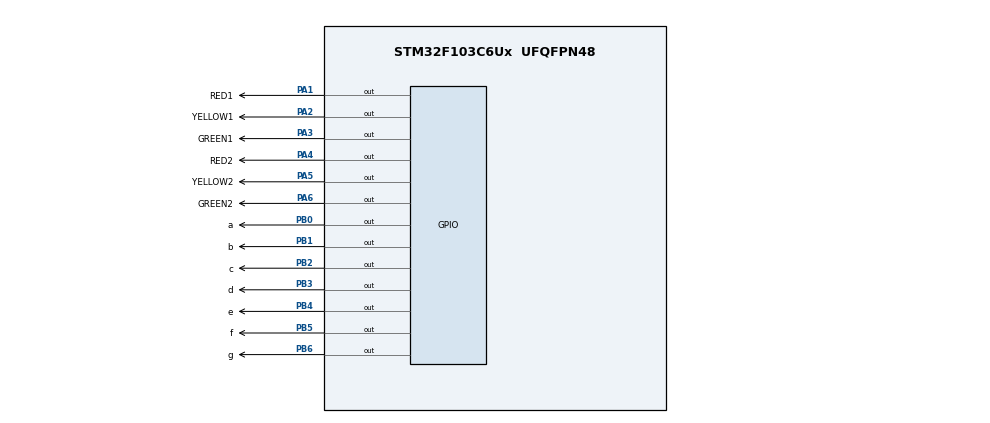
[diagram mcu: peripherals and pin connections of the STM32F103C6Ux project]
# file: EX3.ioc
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Mcu.Family=STM32F1
Mcu.Name=STM32F103C6Ux
Mcu.Package=UFQFPN48
NVIC.PriorityGroup=NVIC_PRIORITYGROUP_4
PA1.GPIO_Label=RED1
PA1.Signal=GPIO_Output
PA2.GPIO_Label=YELLOW1
PA2.Signal=GPIO_Output
PA3.GPIO_Label=GREEN1
PA3.Signal=GPIO_Output
PA4.GPIO_Label=RED2
PA4.Signal=GPIO_Output
PA5.GPIO_Label=YELLOW2
PA5.Signal=GPIO_Output
PA6.GPIO_Label=GREEN2
PA6.Signal=GPIO_Output
PB0.GPIO_Label=a
PB0.Signal=GPIO_Output
PB1.GPIO_Label=b
PB1.Signal=GPIO_Output
PB2.GPIO_Label=c
PB2.Signal=GPIO_Output
PB3.GPIO_Label=d
PB3.Signal=GPIO_Output
PB4.GPIO_Label=e
PB4.Signal=GPIO_Output
PB5.GPIO_Label=f
PB5.Signal=GPIO_Output
PB6.GPIO_Label=g
PB6.Signal=GPIO_Output
ProjectManager.HeapSize=0x200
ProjectManager.StackSize=0x400
ProjectManager.TargetToolchain=STM32CubeIDE
RCC.APB1Freq_Value=8000000
RCC.APB2Freq_Value=8000000
VP_SYS_VS_ND.Mode=No_Debug
board=custom

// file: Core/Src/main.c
/* USER CODE BEGIN Header */
/**
  ******************************************************************************
  * @file           : main.c
  * @brief          : Main program body
  ******************************************************************************
  * @attention
  *
  * <h2><center>&copy; Copyright (c) 2022 STMicroelectronics.
  * All rights reserved.</center></h2>
  *
  * This software component is licensed by ST under BSD 3-Clause license,
  * the "License"; You may not use this file except in compliance with the
  * License. You may obtain a copy of the License at:
  *                        opensource.org/licenses/BSD-3-Clause
  *
  ******************************************************************************
  */
/* USER CODE END Header */
#include "main.h"

void SystemClock_Config(void);
static void MX_GPIO_Init(void);

void display7SEG(int num) {
	if (num==0) {
		HAL_GPIO_WritePin(a_GPIO_Port, a_Pin, RESET);
		HAL_GPIO_WritePin(b_GPIO_Port, b_Pin, RESET);
		HAL_GPIO_WritePin(c_GPIO_Port, c_Pin, RESET);
		HAL_GPIO_WritePin(d_GPIO_Port, d_Pin, RESET);
		HAL_GPIO_WritePin(e_GPIO_Port, e_Pin, RESET);
		HAL_GPIO_WritePin(f_GPIO_Port, f_Pin, RESET);
		HAL_GPIO_WritePin(g_GPIO_Port, g_Pin, SET);
	}
	if (num==1) {
		HAL_GPIO_WritePin(a_GPIO_Port, a_Pin, SET);
		HAL_GPIO_WritePin(b_GPIO_Port, b_Pin, RESET);
		HAL_GPIO_WritePin(c_GPIO_Port, c_Pin, RESET);
		HAL_GPIO_WritePin(d_GPIO_Port, d_Pin, SET);
		HAL_GPIO_WritePin(e_GPIO_Port, e_Pin, SET);
		HAL_GPIO_WritePin(f_GPIO_Port, f_Pin, SET);
		HAL_GPIO_WritePin(g_GPIO_Port, g_Pin, SET);
	}
	if (num==2) {
		HAL_GPIO_WritePin(a_GPIO_Port, a_Pin, RESET);
		HAL_GPIO_WritePin(b_GPIO_Port, b_Pin, RESET);
		HAL_GPIO_WritePin(c_GPIO_Port, c_Pin, SET);
		HAL_GPIO_WritePin(d_GPIO_Port, d_Pin, RESET);
		HAL_GPIO_WritePin(e_GPIO_Port, e_Pin, RESET);
		HAL_GPIO_WritePin(f_GPIO_Port, f_Pin, SET);
		HAL_GPIO_WritePin(g_GPIO_Port, g_Pin, RESET);
	}
	if (num==3) {
		HAL_GPIO_WritePin(a_GPIO_Port, a_Pin, RESET);
		HAL_GPIO_WritePin(b_GPIO_Port, b_Pin, RESET);
		HAL_GPIO_WritePin(c_GPIO_Port, c_Pin, RESET);
		HAL_GPIO_WritePin(d_GPIO_Port, d_Pin, RESET);
		HAL_GPIO_WritePin(e_GPIO_Port, e_Pin, SET);
		HAL_GPIO_WritePin(f_GPIO_Port, f_Pin, SET);
		HAL_GPIO_WritePin(g_GPIO_Port, g_Pin, RESET);
	}
	if (num==4) {
		HAL_GPIO_WritePin(a_GPIO_Port, a_Pin, SET);
		HAL_GPIO_WritePin(b_GPIO_Port, b_Pin, RESET);
		HAL_GPIO_WritePin(c_GPIO_Port, c_Pin, RESET);
		HAL_GPIO_WritePin(d_GPIO_Port, d_Pin, SET);
		HAL_GPIO_WritePin(e_GPIO_Port, e_Pin, SET);
		HAL_GPIO_WritePin(f_GPIO_Port, f_Pin, RESET);
		HAL_GPIO_WritePin(g_GPIO_Port, g_Pin, RESET);
	}
	if (num==5) {
		HAL_GPIO_WritePin(a_GPIO_Port, a_Pin, RESET);
		HAL_GPIO_WritePin(b_GPIO_Port, b_Pin, SET);
		HAL_GPIO_WritePin(c_GPIO_Port, c_Pin, RESET);
		HAL_GPIO_WritePin(d_GPIO_Port, d_Pin, RESET);
		HAL_GPIO_WritePin(e_GPIO_Port, e_Pin, SET);
		HAL_GPIO_WritePin(f_GPIO_Port, f_Pin, RESET);
		HAL_GPIO_WritePin(g_GPIO_Port, g_Pin, RESET);
	}
	if (num==6) {
		HAL_GPIO_WritePin(a_GPIO_Port, a_Pin, RESET);
		HAL_GPIO_WritePin(b_GPIO_Port, b_Pin, SET);
		HAL_GPIO_WritePin(c_GPIO_Port, c_Pin, RESET);
		HAL_GPIO_WritePin(d_GPIO_Port, d_Pin, RESET);
		HAL_GPIO_WritePin(e_GPIO_Port, e_Pin, RESET);
		HAL_GPIO_WritePin(f_GPIO_Port, f_Pin, RESET);
		HAL_GPIO_WritePin(g_GPIO_Port, g_Pin, RESET);
	}
	if (num==7) {
		HAL_GPIO_WritePin(a_GPIO_Port, a_Pin, RESET);
		HAL_GPIO_WritePin(b_GPIO_Port, b_Pin, RESET);
		HAL_GPIO_WritePin(c_GPIO_Port, c_Pin, RESET);
		HAL_GPIO_WritePin(d_GPIO_Port, d_Pin, SET);
		HAL_GPIO_WritePin(e_GPIO_Port, e_Pin, SET);
		HAL_GPIO_WritePin(f_GPIO_Port, f_Pin, SET);
		HAL_GPIO_WritePin(g_GPIO_Port, g_Pin, SET);
	}
	if (num==8) {
		HAL_GPIO_WritePin(a_GPIO_Port, a_Pin, RESET);
		HAL_GPIO_WritePin(b_GPIO_Port, b_Pin, RESET);
		HAL_GPIO_WritePin(c_GPIO_Port, c_Pin, RESET);
		HAL_GPIO_WritePin(d_GPIO_Port, d_Pin, RESET);
		HAL_GPIO_WritePin(e_GPIO_Port, e_Pin, RESET);
		HAL_GPIO_WritePin(f_GPIO_Port, f_Pin, RESET);
		HAL_GPIO_WritePin(g_GPIO_Port, g_Pin, RESET);
	}
	if (num==9) {
		HAL_GPIO_WritePin(a_GPIO_Port, a_Pin, RESET);
		HAL_GPIO_WritePin(b_GPIO_Port, b_Pin, RESET);
		HAL_GPIO_WritePin(c_GPIO_Port, c_Pin, RESET);
		HAL_GPIO_WritePin(d_GPIO_Port, d_Pin, RESET);
		HAL_GPIO_WritePin(e_GPIO_Port, e_Pin, SET);
		HAL_GPIO_WritePin(f_GPIO_Port, f_Pin, RESET);
		HAL_GPIO_WritePin(g_GPIO_Port, g_Pin, RESET);
	}
}
int main(void)
{

  /* MCU Configuration--------------------------------------------------------*/

  /* Reset of all peripherals, Initializes the Flash interface and the Systick. */
  HAL_Init();

  /* Configure the system clock */
  SystemClock_Config();

  /* Initialize all configured peripherals */
  MX_GPIO_Init();

  /* Infinite loop */
  /* USER CODE BEGIN WHILE */
  int counter=9;
  while (1)
  {

	  HAL_GPIO_WritePin(GREEN1_GPIO_Port, GREEN1_Pin, RESET);
	  HAL_GPIO_WritePin(YELLOW1_GPIO_Port, YELLOW1_Pin, SET);
	  HAL_GPIO_WritePin(RED1_GPIO_Port, RED1_Pin, SET);
	  HAL_GPIO_WritePin(RED2_GPIO_Port, RED2_Pin, RESET);
	  HAL_GPIO_WritePin(GREEN2_GPIO_Port, GREEN2_Pin, SET);
	  HAL_GPIO_WritePin(YELLOW2_GPIO_Port, YELLOW2_Pin, SET);
	  /* Led 7 đoạn đếm từ 9 về 0 */
	  for (int i=0;i<=9;i++) {
		  if( counter<=-1) counter=9;
		  display7SEG (counter--);
		  HAL_Delay(1000);
	  }
	  HAL_GPIO_WritePin(GREEN1_GPIO_Port, GREEN1_Pin, SET);
	  HAL_GPIO_WritePin(YELLOW1_GPIO_Port, YELLOW1_Pin, RESET);
	  HAL_GPIO_WritePin(RED1_GPIO_Port, RED1_Pin, SET);
	  HAL_GPIO_WritePin(RED2_GPIO_Port, RED2_Pin, SET);
	  HAL_GPIO_WritePin(GREEN2_GPIO_Port, GREEN2_Pin, RESET);
	  HAL_GPIO_WritePin(YELLOW2_GPIO_Port, YELLOW2_Pin, SET);
	  /* Led 7 đoạn đếm từ 9 về 0 */
	  for (int i=0;i<=9;i++) {
	  	if( counter<=-1) counter=9;
	  	display7SEG (counter--);
	  	HAL_Delay(1000);
	  }
	  HAL_GPIO_WritePin(GREEN1_GPIO_Port, GREEN1_Pin, SET);
	  HAL_GPIO_WritePin(YELLOW1_GPIO_Port, YELLOW1_Pin, SET);
	  HAL_GPIO_WritePin(RED1_GPIO_Port, RED1_Pin, RESET);
	  HAL_GPIO_WritePin(RED2_GPIO_Port, RED2_Pin, SET);
	  HAL_GPIO_WritePin(GREEN2_GPIO_Port, GREEN2_Pin, SET);
	  HAL_GPIO_WritePin(YELLOW2_GPIO_Port, YELLOW2_Pin, RESET);

	  for (int i=0;i<=9;i++) {
	  	if( counter<=-1) counter=9;
	  	display7SEG (counter--);
	  	HAL_Delay(1000);
	  }
    /* USER CODE END WHILE */

  }
}

void SystemClock_Config(void)
{
  RCC_OscInitTypeDef RCC_OscInitStruct = {0};
  RCC_ClkInitTypeDef RCC_ClkInitStruct = {0};

  /** Initializes the RCC Oscillators according to the specified parameters
  * in the RCC_OscInitTypeDef structure.
  */
  RCC_OscInitStruct.OscillatorType = RCC_OSCILLATORTYPE_HSI;
  RCC_OscInitStruct.HSIState = RCC_HSI_ON;
  RCC_OscInitStruct.HSICalibrationValue = RCC_HSICALIBRATION_DEFAULT;
  RCC_OscInitStruct.PLL.PLLState = RCC_PLL_NONE;
  if (HAL_RCC_OscConfig(&RCC_OscInitStruct) != HAL_OK)
  {
    Error_Handler();
  }
  /** Initializes the CPU, AHB and APB buses clocks
  */
  RCC_ClkInitStruct.ClockType = RCC_CLOCKTYPE_HCLK|RCC_CLOCKTYPE_SYSCLK
                              |RCC_CLOCKTYPE_PCLK1|RCC_CLOCKTYPE_PCLK2;
  RCC_ClkInitStruct.SYSCLKSource = RCC_SYSCLKSOURCE_HSI;
  RCC_ClkInitStruct.AHBCLKDivider = RCC_SYSCLK_DIV1;
  RCC_ClkInitStruct.APB1CLKDivider = RCC_HCLK_DIV1;
  RCC_ClkInitStruct.APB2CLKDivider = RCC_HCLK_DIV1;

  if (HAL_RCC_ClockConfig(&RCC_ClkInitStruct, FLASH_LATENCY_0) != HAL_OK)
  {
    Error_Handler();
  }
}

static void MX_GPIO_Init(void)
{
  GPIO_InitTypeDef GPIO_InitStruct = {0};

  /* GPIO Ports Clock Enable */
  __HAL_RCC_GPIOA_CLK_ENABLE();
  __HAL_RCC_GPIOB_CLK_ENABLE();

  /*Configure GPIO pin Output Level */
  HAL_GPIO_WritePin(GPIOA, RED1_Pin|YELLOW1_Pin|GREEN1_Pin|RED2_Pin
                          |YELLOW2_Pin|GREEN2_Pin, GPIO_PIN_RESET);

  /*Configure GPIO pin Output Level */
  HAL_GPIO_WritePin(GPIOB, a_Pin|b_Pin|c_Pin|d_Pin
                          |e_Pin|f_Pin|g_Pin, GPIO_PIN_RESET);

  /*Configure GPIO pins : RED1_Pin YELLOW1_Pin GREEN1_Pin RED2_Pin
                           YELLOW2_Pin GREEN2_Pin */
  GPIO_InitStruct.Pin = RED1_Pin|YELLOW1_Pin|GREEN1_Pin|RED2_Pin
                          |YELLOW2_Pin|GREEN2_Pin;
  GPIO_InitStruct.Mode = GPIO_MODE_OUTPUT_PP;
  GPIO_InitStruct.Pull = GPIO_NOPULL;
  GPIO_InitStruct.Speed = GPIO_SPEED_FREQ_LOW;
  HAL_GPIO_Init(GPIOA, &GPIO_InitStruct);

  /*Configure GPIO pins : a_Pin b_Pin c_Pin d_Pin
                           e_Pin f_Pin g_Pin */
  GPIO_InitStruct.Pin = a_Pin|b_Pin|c_Pin|d_Pin
                          |e_Pin|f_Pin|g_Pin;
  GPIO_InitStruct.Mode = GPIO_MODE_OUTPUT_PP;
  GPIO_InitStruct.Pull = GPIO_NOPULL;
  GPIO_InitStruct.Speed = GPIO_SPEED_FREQ_LOW;
  HAL_GPIO_Init(GPIOB, &GPIO_InitStruct);

}

void Error_Handler(void)
{
  __disable_irq();
  while (1)
  {
  }
}

/************************ (C) COPYRIGHT STMicroelectronics *****END OF FILE****/
